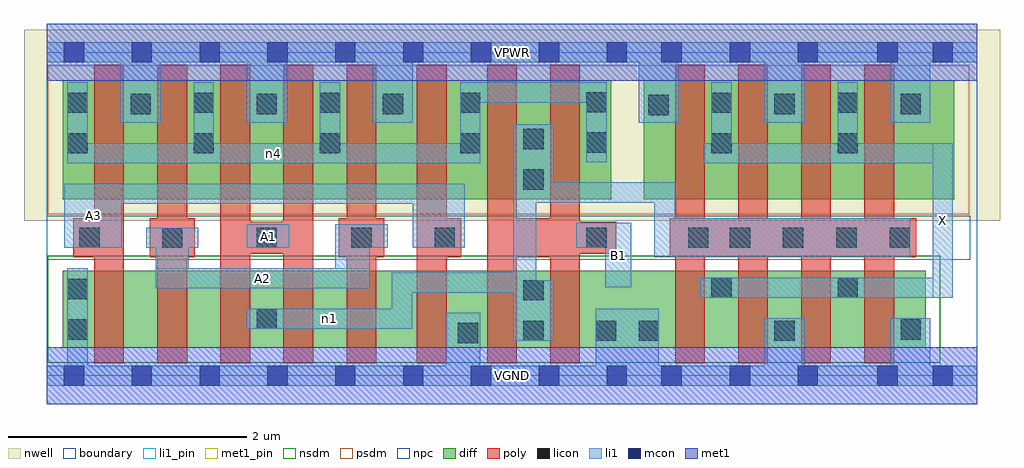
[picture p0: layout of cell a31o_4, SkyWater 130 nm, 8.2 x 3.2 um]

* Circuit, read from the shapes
.subckt a31o_4 A1 A2 A3 B1 VGND VPWR X n1 n4
XM1 n2 A3 VGND VSUBS sky130_fd_pr__nfet_01v8 w=0.65 l=0.25
XM2 n3 A2 n2 VSUBS sky130_fd_pr__nfet_01v8 w=0.65 l=0.25
XM3 n1 A1 n3 VSUBS sky130_fd_pr__nfet_01v8 w=0.65 l=0.25
XM4 n5 A1 n1 VSUBS sky130_fd_pr__nfet_01v8 w=0.65 l=0.25
XM5 n6 A2 n5 VSUBS sky130_fd_pr__nfet_01v8 w=0.65 l=0.25
XM6 VGND A3 n6 VSUBS sky130_fd_pr__nfet_01v8 w=0.65 l=0.25
XM7 n1 B1 VGND VSUBS sky130_fd_pr__nfet_01v8 w=0.65 l=0.25 m=2
XM8 X n1 VGND VSUBS sky130_fd_pr__nfet_01v8 w=0.65 l=0.25 m=4
XM9 VPWR A3 n4 n7 sky130_fd_pr__pfet_01v8 w=1 l=0.25 m=2
XM10 n4 A2 VPWR n7 sky130_fd_pr__pfet_01v8 w=1 l=0.25 m=2
XM11 VPWR A1 n4 n7 sky130_fd_pr__pfet_01v8 w=1 l=0.25 m=2
XM12 n1 B1 n4 n7 sky130_fd_pr__pfet_01v8 w=1 l=0.25 m=2
XM13 X n1 VPWR n7 sky130_fd_pr__pfet_01v8 w=1 l=0.25 m=4
.ends

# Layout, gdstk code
import gdstk
lib = gdstk.Library(unit=1e-6, precision=1e-09)
def R(c, l, rs):  # rectangles x0, y0, x1, y1
    for r in rs: c.add(gdstk.rectangle(r[:2], r[2:], *l))
def A(c, l, x, y, w, h, nx, ny, dx, dy):  # array of equal rectangles
    R(c, l, [(x+i*dx, y+j*dy, x+i*dx+w, y+j*dy+h) for i in range(nx) for j in range(ny)])
nwell = (64, 20)
diff = (65, 20)
poly = (66, 20)
licon = (66, 44)
li1_pin = (67, 16)
li1 = (67, 20)
mcon = (67, 44)
met1_pin = (68, 16)
met1 = (68, 20)
nsdm = (93, 44)
psdm = (94, 20)
npc = (95, 20)
boundary = (235, 4)

a31o_4 = lib.new_cell('a31o_4')
R(a31o_4, nwell, [(-0.19,1.305,8.01,2.91), (0,1.305,7.82,2.91)])
R(a31o_4, diff, [(0.135,0.235,7.385,0.885), (0.135,1.485,4.745,2.485), (5.015,1.485,7.625,2.485)])
A(a31o_4, poly, 0.4, 0.105, 0.25, 2.51, 5, 1, 0.53, 0)
A(a31o_4, poly, 5.28, 0.105, 0.25, 2.51, 4, 1, 0.53, 0)
R(a31o_4, poly, [(3.11,0.105,3.36,2.615), (3.7,0.105,3.95,2.615), (4.23,0.105,4.48,2.615), (0.225,0.995,0.65,1.325), (0.865,0.995,1.245,1.325), (2.455,0.995,2.835,1.325), (3.11,0.995,3.485,1.325), (3.7,0.995,4.48,1.325), (5.235,0.995,7.305,1.325), (1.46,1.025,2.24,1.295), (3.7,1.025,4.785,1.295)])
A(a31o_4, licon, 0.97, 1.075, 0.17, 0.17, 3, 1, 0.795, 0)
A(a31o_4, licon, 6.185, 1.075, 0.17, 0.17, 3, 1, 0.45, 0)
A(a31o_4, licon, 0.175, 1.87, 0.17, 0.17, 3, 2, 1.06, 0.34)
A(a31o_4, licon, 0.705, 2.2, 0.17, 0.17, 3, 1, 1.06, 0)
R(a31o_4, licon, [(3.455,0.275,3.625,0.445), (4.005,0.295,4.175,0.465), (4.615,0.295,4.785,0.465), (4.975,0.295,5.145,0.465), (6.115,0.295,6.285,0.465), (0.175,0.305,0.345,0.475), (7.175,0.305,7.345,0.475), (1.765,0.395,1.935,0.565), (4.005,0.635,4.175,0.805), (0.175,0.645,0.345,0.815), (5.585,0.655,5.755,0.825), (6.645,0.655,6.815,0.825), (0.275,1.075,0.445,1.245), (3.26,1.075,3.43,1.245), (4.535,1.075,4.705,1.245), (5.39,1.075,5.56,1.245), (5.74,1.075,5.91,1.245), (4.005,1.565,4.175,1.735), (3.475,1.87,3.645,2.04), (5.585,1.87,5.755,2.04), (6.645,1.87,6.815,2.04), (4.535,1.875,4.705,2.045), (4.005,1.905,4.175,2.075), (5.055,2.19,5.225,2.36), (6.115,2.2,6.285,2.37), (7.175,2.2,7.345,2.37), (3.475,2.21,3.645,2.38), (5.585,2.21,5.755,2.38), (6.645,2.21,6.815,2.38), (4.535,2.215,4.705,2.385)])
R(a31o_4, li1_pin, [(7.445,0.655,7.615,1.955), (0.915,0.735,2.715,0.905), (4.695,0.745,4.91,1.285), (0.15,1.075,0.63,1.615), (1.68,1.075,2.04,1.275)])
A(a31o_4, li1, 0.175, 1.785, 0.17, 0.68, 3, 1, 1.06, 0)
R(a31o_4, li1, [(0,-0.085,7.82,0.085), (0.175,-0.085,0.345,0.905), (3.355,-0.085,3.645,0.53), (4.615,-0.085,5.145,0.565), (6.03,-0.085,6.37,0.485), (7.09,-0.085,7.425,0.485), (3.92,0.295,4.115,2.115), (3.92,0.295,4.26,0.805), (1.68,0.395,3.07,0.565), (2.9,0.395,3.07,0.87), (5.49,0.655,7.615,0.825), (7.445,0.655,7.615,1.955), (2.9,0.7,4.115,0.87), (0.915,0.735,2.715,0.905), (0.915,0.735,1.195,1.245), (2.425,0.735,2.715,1.275), (4.695,0.745,4.91,1.285), (5.105,0.995,7.255,1.325), (5.105,0.995,5.28,1.625), (0.15,1.075,0.63,1.615), (0.835,1.075,1.275,1.245), (1.68,1.075,2.04,1.275), (2.425,1.075,2.865,1.275), (3.075,1.075,3.515,1.615), (4.45,1.075,4.91,1.285), (0.15,1.445,3.515,1.615), (3.92,1.455,5.28,1.625), (3.92,1.455,4.26,2.115), (0.175,1.785,3.645,1.955), (3.475,1.785,3.645,2.465), (5.52,1.785,7.615,1.955), (5.585,1.785,5.755,2.465), (6.645,1.785,6.815,2.465), (4.535,1.795,4.705,2.465), (0.62,2.125,0.96,2.805), (1.68,2.125,2.02,2.805), (2.74,2.125,3.075,2.805), (4.975,2.125,5.31,2.805), (6.03,2.125,6.37,2.805), (7.09,2.125,7.425,2.805), (3.475,2.295,4.705,2.465), (0,2.635,7.82,2.805)])
A(a31o_4, mcon, 0.145, -0.085, 0.17, 0.17, 9, 2, 0.57, 2.72)
R(a31o_4, mcon, [(5.165,-0.085,5.335,0.085), (5.74,-0.085,5.91,0.085), (6.31,-0.085,6.48,0.085), (6.98,-0.085,7.15,0.085), (7.445,-0.085,7.615,0.085), (5.165,2.635,5.335,2.805), (5.74,2.635,5.91,2.805), (6.31,2.635,6.48,2.805), (6.98,2.635,7.15,2.805), (7.445,2.635,7.615,2.805)])
R(a31o_4, met1_pin, [(0,-0.24,7.82,0.24), (0,2.48,7.82,2.96)])
R(a31o_4, met1, [(0,-0.24,7.82,0.24), (0,2.48,7.82,2.96)])
R(a31o_4, nsdm, [(0.01,0.11,7.51,1.01)])
R(a31o_4, psdm, [(0.01,1.36,7.75,2.61)])
R(a31o_4, npc, [(0,0.975,7.76,1.345)])
R(a31o_4, boundary, [(0,0,7.82,2.72)])
a31o_4.add(gdstk.Label('A1', (1.86,1.175), layer=67, texttype=5))
a31o_4.add(gdstk.Label('A2', (1.815,0.82), layer=67, texttype=5))
a31o_4.add(gdstk.Label('A3', (0.39,1.345), layer=67, texttype=5))
a31o_4.add(gdstk.Label('B1', (4.802,1.015), layer=67, texttype=5))
a31o_4.add(gdstk.Label('X', (7.53,1.305), layer=67, texttype=5))
a31o_4.add(gdstk.Label('n1', (2.375,0.48), layer=67, texttype=5))
a31o_4.add(gdstk.Label('n4', (1.91,1.87), layer=67, texttype=5))
a31o_4.add(gdstk.Label('VPWR', (3.91,2.72), layer=68, texttype=5))
a31o_4.add(gdstk.Label('VGND', (3.91,0), layer=68, texttype=5))
a31o_4.add(gdstk.Label('A1', (1.86,1.175), layer=67, texttype=16))
a31o_4.add(gdstk.Label('A2', (1.815,0.82), layer=67, texttype=16))
a31o_4.add(gdstk.Label('A3', (0.39,1.345), layer=67, texttype=16))
a31o_4.add(gdstk.Label('B1', (4.802,1.015), layer=67, texttype=16))
a31o_4.add(gdstk.Label('X', (7.53,1.305), layer=67, texttype=16))
a31o_4.add(gdstk.Label('VPWR', (3.91,2.72), layer=68, texttype=16))
a31o_4.add(gdstk.Label('VGND', (3.91,0), layer=68, texttype=16))

lib.write_gds('a31o_4.gds')
